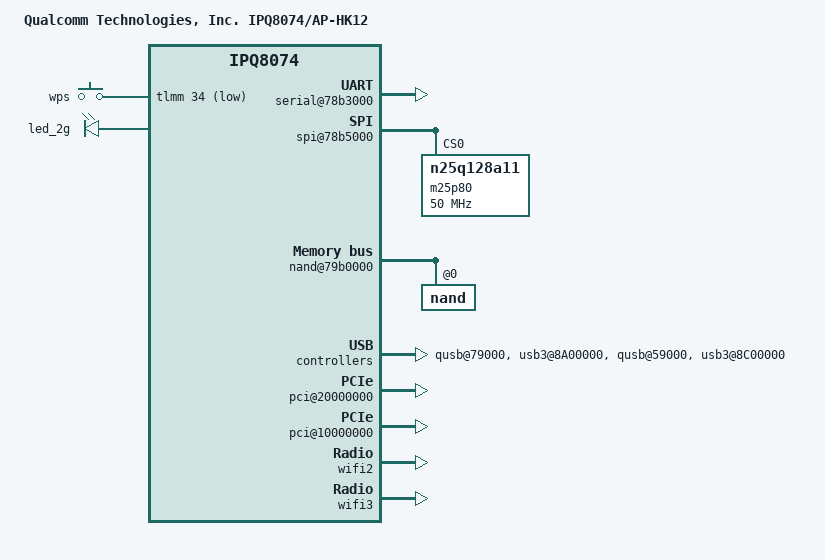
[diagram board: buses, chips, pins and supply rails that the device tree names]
// SPDX-License-Identifier: GPL-2.0-only
/dts-v1/;
/* Copyright (c) 2020 The Linux Foundation. All rights reserved.
 */
#include "ipq8074.dtsi"
#include "ipq8074-hk-cpu.dtsi"

/* Internal radio is not enabled on hk12, so delete the
 * references to internal radio's reserved memory
 */
#if !defined(__IPQ_MEM_PROFILE_256_MB__)
&tmc_etr {
	/delete-property/ memory-region;
};

&q6v5_wcss {
	/delete-property/ memory-region;
};
#endif

/ {
	#address-cells = <0x2>;
	#size-cells = <0x2>;
	model = "Qualcomm Technologies, Inc. IPQ8074/AP-HK12";
	compatible = "qcom,ipq8074-ap-hk12", "qcom,ipq8074-ap-hk12", "qcom,ipq8074";
	qcom,msm-id = <0x143 0x0>, <0x186 0x0>;
	interrupt-parent = <&intc>;

	aliases {
		serial0 = &blsp1_uart5;
		/* Aliases as required by u-boot to patch MAC addresses */
		ethernet0 = "/soc/dp1";
		ethernet1 = "/soc/dp2";
		ethernet2 = "/soc/dp3";
		ethernet3 = "/soc/dp4";
		ethernet4 = "/soc/dp5";
		ethernet5 = "/soc/dp6";
	};

	chosen {
		stdout-path = "serial0";
	};

	reserved-memory {
/* No Pine attach in 256M profile */
#if !defined(__IPQ_MEM_PROFILE_256_MB__)
#ifdef __IPQ_MEM_PROFILE_512_MB__
	/*                      512 MB Profile
	 * +========+==============+=========================+
	 * | Region | Start Offset |          Size           |
	 * +--------+--------------+-------------------------+
	 * |  NSS   |  0x40000000  |          16MB           |
	 * +--------+--------------+-------------------------+
	 * | Linux  |  0x41000000  | Depends on total memory |
	 * +--------+--------------+-------------------------+
	 * | TZ APP |  0x4A400000  |           1MB           |
	 * +--------+--------------+-------------------------+
	 * | uboot  |  0x4A600000  |           4MB           |
	 * +--------+--------------+-------------------------+
	 * |  SBL   |  0x4AA00000  |           1MB           |
	 * +--------+--------------+-------------------------+
	 * |  smem  |  0x4AB00000  |           1MB           |
	 * +--------+--------------+-------------------------+
	 * |   TZ   |  0x4AC00000  |           4MB           |
	 * +--------+--------------+-------------------------+
	 * |  Pine0 |  0x4B000000  |          26MB           |
	 * +--------+--------------+-------------------------+
	 * |  Pine1 |  0x4CA00000  |          26MB           |
	 * +--------+--------------+-------------------------+
	 * |  MHI0  |  0x4E400000  |           9MB           |
	 * +--------+--------------+-------------------------+
	 * |  MHI1  |  0x4ED00000  |           9MB           |
	 * +--------+--------------+-------------------------+
	 * |                                                 |
	 * |      Rest of the memory for Linux               |
	 * |                                                 |
	 * +=================================================+
	 */
		/delete-node/ wcnss@4b000000;
		/delete-node/ q6_etr_dump@4e700000;
		/delete-node/ m3_dump@4e800000;
		qcn9000_pcie0: qcn9000_pcie0@4b000000 {
			no-map;
			reg = <0x0 0x4b000000 0x0 0x01A00000>;
		};

		qcn9000_pcie1: qcn9000_pcie1@4CA00000 {
			no-map;
			reg = <0x0 0x4CA00000 0x0 0x01A00000>;
		};

#if defined(__CNSS2__)
		mhi_region0: dma_pool0@4e400000 {
			compatible = "shared-dma-pool";
			no-map;
			reg = <0x0 0x4e400000 0x0 0x00900000>;
		};

		mhi_region1: dma_pool1@4ED00000 {
			compatible = "shared-dma-pool";
			no-map;
			reg = <0x0 0x4ED00000 0x0 0x00900000>;
		};
#endif
#else
	/*                   Default Profile
	 * +========+==============+=========================+
	 * | Region | Start Offset |          Size           |
	 * +--------+--------------+-------------------------+
	 * |  NSS   |  0x40000000  |          16MB           |
	 * +--------+--------------+-------------------------+
	 * | Linux  |  0x41000000  | Depends on total memory |
	 * +--------+--------------+-------------------------+
	 * | TZ APP |  0x4A400000  |           2MB           |
	 * +--------+--------------+-------------------------+
	 * | uboot  |  0x4A600000  |           4MB           |
	 * +--------+--------------+-------------------------+
	 * |  SBL   |  0x4AA00000  |           1MB           |
	 * +--------+--------------+-------------------------+
	 * |  smem  |  0x4AB00000  |           1MB           |
	 * +--------+--------------+-------------------------+
	 * |   TZ   |  0x4AC00000  |           4MB           |
	 * +--------+--------------+-------------------------+
	 * |  Pine0 |  0x4B000000  |          53MB           |
	 * +--------+--------------+-------------------------+
	 * |  Pine1 |  0x4E500000  |          53MB           |
	 * +--------+--------------+-------------------------+
	 * |  MHI0  |  0x51A00000  |           9MB           |
	 * +--------+--------------+-------------------------+
	 * |  MHI1  |  0x52300000  |           9MB           |
	 * +--------+--------------+-------------------------+
	 * |                                                 |
	 * |      Rest of the memory for Linux               |
	 * |                                                 |
	 * +=================================================+
	 */
		/delete-node/ wcnss@4b000000;
		/delete-node/ q6_etr_dump@50f00000;
		/delete-node/ m3_dump@51000000;
		qcn9000_pcie0: qcn9000_pcie0@4b000000 {
			no-map;
			reg = <0x0 0x4b000000 0x0 0x03500000>;
		};

		qcn9000_pcie1: qcn9000_pcie1@4e500000 {
			no-map;
			reg = <0x0 0x4E500000 0x0 0x03500000>;
		};

#if defined(__CNSS2__)
		mhi_region0: dma_pool0@51a00000 {
			compatible = "shared-dma-pool";
			no-map;
			reg = <0x0 0x51A00000 0x0 0x00900000>;
		};

		mhi_region1: dma_pool1@52300000 {
			compatible = "shared-dma-pool";
			no-map;
			reg = <0x0 0x52300000 0x0 0x00900000>;
		};
#endif
#endif
#endif
	};

	soc {
		pinctrl@1000000 {
			button_pins: button_pins {
				wps_button {
					pins = "gpio34";
					function = "gpio";
					drive-strength = <8>;
					bias-pull-up;
				};
			};

			usb_mux_sel_pins: usb_mux_pins {
				mux {
					pins = "gpio27";
					function = "gpio";
					drive-strength = <8>;
					bias-pull-down;
				};
			};

			pcie0_pins: pcie_pins {
				pcie0_rst {
					pins = "gpio58";
					function = "pcie0_rst";
					drive-strength = <8>;
					bias-pull-down;
				};
				pcie0_wake {
					pins = "gpio59";
					function = "pcie0_wake";
					drive-strength = <8>;
					bias-pull-down;
				};
			};

			led_pins: led_pins {
				led_2g {
					pins = "gpio18";
					function = "gpio";
					drive-strength = <8>;
					bias-pull-down;
				};
			};
		};

		serial@78b3000 {
			status = "ok";
		};

		spi@78b5000 {
			status = "ok";
			pinctrl-0 = <&spi_0_pins>;
			pinctrl-names = "default";
			cs-select = <0>;

			m25p80@0 {
				  compatible = "n25q128a11";
				  #address-cells = <1>;
				  #size-cells = <1>;
				  reg = <0>;
				  spi-max-frequency = <50000000>;
			};
		};

		dma@7984000 {
			 status = "ok";
		};

		nand@79b0000 {
			status = "ok";

			nand@0 {
				reg = <0>;
				#address-cells = <1>;
				#size-cells = <1>;

				nand-ecc-strength = <4>;
				nand-ecc-step-size = <512>;
				nand-bus-width = <8>;
			};
		};

		qusb@79000 {
			status = "ok";
		};

		ssphy@78000 {
			status = "ok";
		};

		usb3@8A00000 {
			status = "ok";
		};

		qusb@59000 {
			status = "ok";
		};

		ssphy@58000 {
			status = "ok";
		};

		usb3@8C00000 {
			status = "ok";
		};

		qcom,test@0 {
			status = "ok";
		};

		phy@84000 {
			status = "ok";
		};

		phy@86000 {
			status = "ok";
		};

		pci@20000000 {
			perst-gpio = <&tlmm 58 1>;
			status = "ok";

			pcie0_rp {
				reg = <0 0 0 0 0>;

				qcom,mhi@0 {
					reg = <0 0 0 0 0>;
					qrtr_instance_id = <0x20>;
#if defined(__CNSS2__)
#if !defined(__IPQ_MEM_PROFILE_256_MB__)
					memory-region = <0>,<&mhi_region0>;
#endif
#endif
				};
			};
		};

		phy@8e000 {
			status = "ok";
		};

		pci@10000000 {
			perst-gpio = <&tlmm 61 0x1>;
			status = "ok";

			pcie1_rp {
				reg = <0 0 0 0 0>;

				qcom,mhi@1 {
					reg = <0 0 0 0 0>;
					qrtr_instance_id = <0x21>;
#if defined(__CNSS2__)
#if !defined(__IPQ_MEM_PROFILE_256_MB__)
					memory-region = <0>,<&mhi_region1>;
#endif
#endif
				};
			};
		};

		gpio_keys {
			compatible = "gpio-keys";
			pinctrl-0 = <&button_pins>;
			pinctrl-names = "default";
			status = "ok";

			button@1 {
				label = "wps";
				linux,code = <KEY_WPS_BUTTON>;
				gpios = <&tlmm 34 GPIO_ACTIVE_LOW>;
				linux,input-type = <1>;
				debounce-interval = <60>;
			};
		};

		leds {
			compatible = "gpio-leds";
			pinctrl-0 = <&led_pins>;
			pinctrl-names = "default";

			led_2g {
				label = "led_2g";
				gpio = <&tlmm 18 GPIO_ACTIVE_HIGH>;
				default-state = "off";
			};
		};

	};
};

&wifi0 {
	/delete-property/ mem-region;
	status = "disabled";
};

&wifi1 {
#if defined (__CNSS2__)
	/delete-property/ mem-region;
#else
	/delete-property/ memory-region;
#endif
	status = "disabled";
};

&wifi2 {
#if !defined(__IPQ_MEM_PROFILE_256_MB__)
#ifdef __IPQ_MEM_PROFILE_512_MB__
      /* QCN9000 tgt-mem-mode=1 layout - 26MB
       * +=========+==============+=========+
       * |  Region | Start Offset |   Size  |
       * +---------+--------------+---------+
       * | HREMOTE |  0x4B000000  |   12MB  |
       * +---------+--------------+---------+
       * | M3 Dump |  0x4BC00000  |   1MB   |
       * +---------+--------------+---------+
       * |   ETR   |  0x4BD00000  |   1MB   |
       * +---------+--------------+---------+
       * |  Caldb  |  0x4BE00000  |   8MB   |
       * +---------+--------------+---------+
       * | Pageable|  0x4C600000  |   4MB   |
       * +==================================+
       */
	base-addr = <0x4B000000>;
	m3-dump-addr = <0x4BC00000>;
	etr-addr = <0x4BD00000>;
	caldb-addr = <0x4BE00000>;
	pageable-addr = <0x4C600000>;
	hremote-size = <0xC00000>;
	tgt-mem-mode = <0x1>;
	pageable-size = <0x400000>;
#else
      /* QCN9000 tgt-mem-mode=0 layout - 45MB
       * +=========+==============+=========+
       * |  Region | Start Offset |   Size  |
       * +---------+--------------+---------+
       * | HREMOTE |  0x4B000000  |   35MB  |
       * +---------+--------------+---------+
       * | M3 Dump |  0x4D300000  |   1MB   |
       * +---------+--------------+---------+
       * |   ETR   |  0x4D400000  |   1MB   |
       * +---------+--------------+---------+
       * |  Caldb  |  0x4D500000  |   8MB   |
       * +---------+--------------+---------+
       * | Pageable|  0x4DD00000  |   8MB   |
       * +==================================+
       */
	base-addr = <0x4B000000>;
	m3-dump-addr = <0x4D300000>;
	etr-addr = <0x4D400000>;
	caldb-addr = <0x4D500000>;
	pageable-addr = <0x4DD00000>;
	hremote-size = <0x2300000>;
	tgt-mem-mode = <0x0>;
	pageable-size = <0x800000>;
#endif
	caldb-size = <0x800000>;
	hremote_node = <&qcn9000_pcie0>;
	status = "ok";
#endif
};

#if !defined(__IPQ_MEM_PROFILE_256_MB__)
&wifi3 {
#ifdef __IPQ_MEM_PROFILE_512_MB__
      /* QCN9000 tgt-mem-mode=1 layout - 30MB
       * +=========+==============+=========+
       * |  Region | Start Offset |   Size  |
       * +---------+--------------+---------+
       * | HREMOTE |  0x4CA00000  |   12MB  |
       * +---------+--------------+---------+
       * | M3 Dump |  0x4D600000  |   1MB   |
       * +---------+--------------+---------+
       * |   ETR   |  0x4D700000  |   1MB   |
       * +---------+--------------+---------+
       * |  Caldb  |  0x4D800000  |   8MB   |
       * +---------+--------------+---------+
       * | Pageable|  0x4E000000  |   4MB   |
       * +==================================+
       */
	base-addr = <0x4CA00000>;
	m3-dump-addr = <0x4D600000>;
	etr-addr = <0x4D700000>;
	caldb-addr = <0x4D800000>;
	pageable-addr = <0x4E000000>;
	hremote-size = <0xC00000>;
	tgt-mem-mode = <0x1>;
	pageable-size = <0x400000>;
#else
      /* QCN9000 tgt-mem-mode=0 layout - 45MB
       * +=========+==============+=========+
       * |  Region | Start Offset |   Size  |
       * +---------+--------------+---------+
       * | HREMOTE |  0x4E500000  |   35MB  |
       * +---------+--------------+---------+
       * | M3 Dump |  0x50800000  |   1MB   |
       * +---------+--------------+---------+
       * |   ETR   |  0x50900000  |   1MB   |
       * +---------+--------------+---------+
       * |  Caldb  |  0x50A00000  |   8MB   |
       * +---------+--------------+---------+
       * | Pageable|  0x51200000  |   8MB   |
       * +==================================+
       */
	base-addr = <0x4E500000>;
	m3-dump-addr = <0x50800000>;
	etr-addr = <0x50900000>;
	caldb-addr = <0x50A00000>;
	pageable-addr = <0x51200000>;
	hremote-size = <0x2300000>;
	tgt-mem-mode = <0x0>;
	pageable-size = <0x800000>;
#endif
	caldb-size = <0x800000>;
	hremote_node = <&qcn9000_pcie1>;
	status = "ok";
};
#endif
